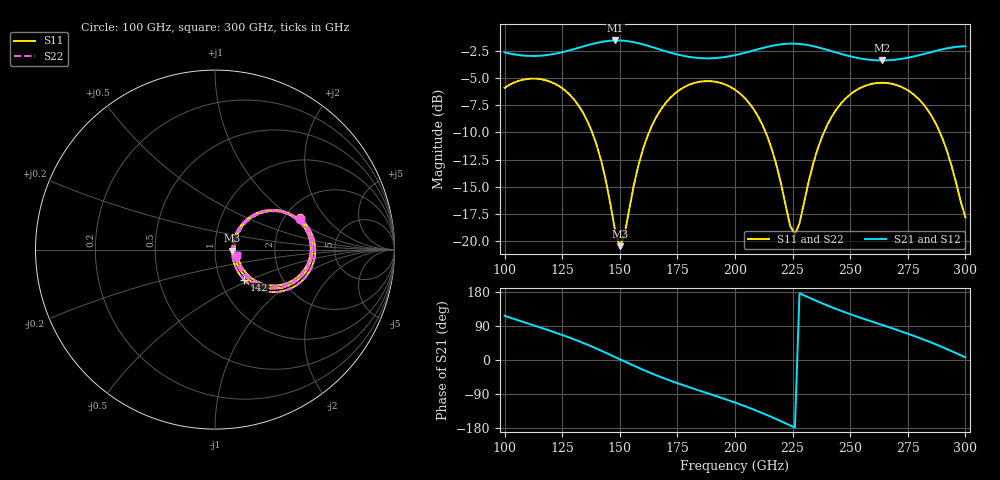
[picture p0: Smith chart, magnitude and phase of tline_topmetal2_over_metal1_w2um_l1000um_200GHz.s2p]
#  GHZ S DB R 50
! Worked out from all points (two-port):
!   101 points, 100 GHz to 300 GHz, reference 50 ohm
!   highest |S21| = -1.57 dB at 148 GHz (marker M1); lowest = -3.4 dB at 264 GHz (marker M2)
!   |S21| within 3 dB of the highest: start of sweep to end of sweep
!   lowest |S11| = -20.4 dB at 150 GHz (marker M3), VSWR 1.21, Z = 60.5 - j0.753 ohm
!   |S11| at or under -10 dB: 138 GHz to 162.7 GHz (24.68 GHz wide, 16.4 % of centre); 213.3 GHz to 238.6 GHz (25.31 GHz wide, 11.2 % of centre); 288.9 GHz to end of sweep
!   |S22| runs from -20.4 to -5.1 dB; largest |S21 - S12| = 8.3e-14
!   S11 on the Smith chart (normalised r, x): 100 GHz: 2.43, +1.14; 142 GHz: 1.29, -0.46; 300 GHz: 1.28, -0.08
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100  -5.91 20.1  -2.66 116.8  -2.66 116.8  -5.90 20.0
116  -5.13 -6.7  -2.96 84.7  -2.96 84.7  -5.13 -6.8
126  -6.11 -23.7  -2.59 63.8  -2.59 63.8  -6.11 -23.8
134  -8.18 -37.3  -2.12 45.2  -2.12 45.2  -8.18 -37.4
142  -12.66 -46.2  -1.70 24.4  -1.70 24.4  -12.66 -46.2
148  -19.04 -27.2  -1.57 7.6  -1.57 7.6  -19.05 -27.3
150  -20.43 -3.7  -1.57 2.0  -1.57 2.0  -20.44 -3.7
152  -19.44 21.2  -1.60 -3.7  -1.60 -3.7  -19.45 21.2
160  -11.58 43.3  -1.92 -25.6  -1.92 -25.6  -11.58 43.3
168  -7.84 33.0  -2.44 -45.5  -2.44 -45.5  -7.84 33.0
184  -5.38 6.8  -3.17 -79.7  -3.17 -79.7  -5.37 6.8
200  -6.09 -19.3  -2.92 -112.4  -2.92 -112.4  -6.08 -19.2
214  -10.35 -40.2  -2.15 -145.6  -2.15 -145.6  -10.32 -39.9
226  -19.36 1.9  -1.86 -178.4  -1.86 -178.4  -19.16 1.7
234  -12.82 41.9  -2.09 159.6  -2.09 159.6  -12.78 41.3
246  -7.35 29.3  -2.80 129.9  -2.80 129.9  -7.34 28.9
264  -5.44 0.8  -3.40 92.1  -3.40 92.1  -5.44 0.4
268  -5.54 -5.5  -3.36 84.0  -3.36 84.0  -5.54 -5.9
278  -6.60 -21.3  -3.02 62.8  -3.02 62.8  -6.60 -21.8
286  -8.73 -33.1  -2.59 44.1  -2.59 44.1  -8.75 -33.7
292  -11.69 -38.0  -2.29 28.7  -2.29 28.7  -11.73 -38.8
300  -17.80 -13.8  -2.10 6.9  -2.10 6.9  -18.03 -14.5
